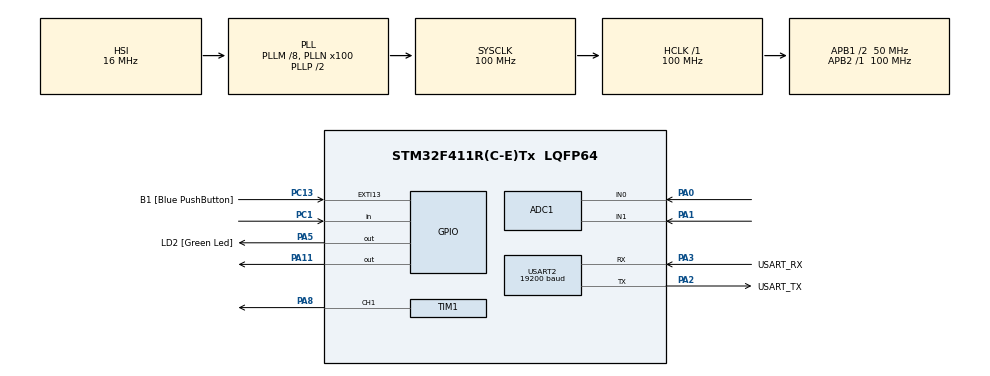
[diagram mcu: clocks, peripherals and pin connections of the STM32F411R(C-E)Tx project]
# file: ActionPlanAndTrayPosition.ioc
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ADC1.Channel-0\#ChannelRegularConversion=ADC_CHANNEL_0
ADC1.Channel-1\#ChannelRegularConversion=ADC_CHANNEL_1
ADC1.ContinuousConvMode=ENABLE
ADC1.DMAContinuousRequests=ENABLE
ADC1.NbrOfConversion=2
ADC1.NbrOfConversionFlag=1
ADC1.Rank-0\#ChannelRegularConversion=1
ADC1.Rank-1\#ChannelRegularConversion=2
ADC1.SamplingTime-0\#ChannelRegularConversion=ADC_SAMPLETIME_56CYCLES
ADC1.SamplingTime-1\#ChannelRegularConversion=ADC_SAMPLETIME_56CYCLES
ADC1.ScanConvMode=ENABLE
ADC1.master=1
Dma.ADC1.0.Direction=DMA_PERIPH_TO_MEMORY
Dma.ADC1.0.FIFOMode=DMA_FIFOMODE_DISABLE
Dma.ADC1.0.Instance=DMA2_Stream0
Dma.ADC1.0.MemDataAlignment=DMA_MDATAALIGN_WORD
Dma.ADC1.0.MemInc=DMA_MINC_ENABLE
Dma.ADC1.0.Mode=DMA_CIRCULAR
Dma.ADC1.0.PeriphDataAlignment=DMA_PDATAALIGN_WORD
Dma.ADC1.0.PeriphInc=DMA_PINC_DISABLE
Dma.ADC1.0.Priority=DMA_PRIORITY_LOW
Dma.Request0=ADC1
Dma.Request1=USART2_TX
Dma.USART2_TX.1.Direction=DMA_MEMORY_TO_PERIPH
Dma.USART2_TX.1.FIFOMode=DMA_FIFOMODE_DISABLE
Dma.USART2_TX.1.Instance=DMA1_Stream6
Dma.USART2_TX.1.MemDataAlignment=DMA_MDATAALIGN_BYTE
Dma.USART2_TX.1.MemInc=DMA_MINC_ENABLE
Dma.USART2_TX.1.Mode=DMA_NORMAL
Dma.USART2_TX.1.PeriphDataAlignment=DMA_PDATAALIGN_BYTE
Dma.USART2_TX.1.PeriphInc=DMA_PINC_DISABLE
Dma.USART2_TX.1.Priority=DMA_PRIORITY_LOW
Mcu.Family=STM32F4
Mcu.Name=STM32F411R(C-E)Tx
Mcu.Package=LQFP64
NVIC.DMA1_Stream6_IRQn=true\:0\:0\:false\:false\:true\:false\:true\:true
NVIC.DMA2_Stream0_IRQn=true\:0\:0\:false\:false\:true\:false\:true\:true
NVIC.PriorityGroup=NVIC_PRIORITYGROUP_0
NVIC.TIM1_TRG_COM_TIM11_IRQn=true\:0\:0\:false\:false\:true\:true\:true\:true
NVIC.TIM5_IRQn=true\:0\:0\:false\:false\:true\:true\:true\:true
NVIC.USART2_IRQn=true\:0\:0\:false\:false\:true\:true\:true\:true
PA0-WKUP.Signal=ADCx_IN0
PA1.Signal=ADCx_IN1
PA11.Signal=GPIO_Output
PA13.GPIO_Label=TMS
PA13.Signal=SYS_JTMS-SWDIO
PA14.GPIO_Label=TCK
PA14.Signal=SYS_JTCK-SWCLK
PA2.GPIO_Label=USART_TX
PA2.Mode=Asynchronous
PA2.Signal=USART2_TX
PA3.GPIO_Label=USART_RX
PA3.Mode=Asynchronous
PA3.Signal=USART2_RX
PA5.GPIO_Label=LD2 [Green Led]
PA5.Signal=GPIO_Output
PA8.Signal=S_TIM1_CH1
PB3.GPIO_Label=SWO
PB3.Signal=SYS_JTDO-SWO
PC1.GPIO_PuPd=GPIO_PULLUP
PC1.Signal=GPIO_Input
PC13-ANTI_TAMP.GPIO_Label=B1 [Blue PushButton]
PC13-ANTI_TAMP.GPIO_ModeDefaultEXTI=GPIO_MODE_IT_FALLING
PC13-ANTI_TAMP.Signal=GPXTI13
PC14-OSC32_IN.Signal=RCC_OSC32_IN
PC15-OSC32_OUT.Signal=RCC_OSC32_OUT
PH0\ -\ OSC_IN.Signal=RCC_OSC_IN
PH1\ -\ OSC_OUT.Signal=RCC_OSC_OUT
ProjectManager.HeapSize=0x200
ProjectManager.StackSize=0x400
ProjectManager.TargetToolchain=STM32CubeIDE
RCC.48MHZClocksFreq_Value=50000000
RCC.AHBFreq_Value=100000000
RCC.APB1CLKDivider=RCC_HCLK_DIV2
RCC.APB1Freq_Value=50000000
RCC.APB1TimFreq_Value=100000000
RCC.APB2Freq_Value=100000000
RCC.APB2TimFreq_Value=100000000
RCC.CortexFreq_Value=100000000
RCC.FLatency-AdvancedSettings=FLASH_LATENCY_3
RCC.HCLKFreq_Value=100000000
RCC.HSE_VALUE=8000000
RCC.HSI_VALUE=16000000
RCC.LSE_VALUE=32768
RCC.PLLM=8
RCC.PLLN=100
RCC.SYSCLKFreq_VALUE=100000000
RCC.SYSCLKSource=RCC_SYSCLKSOURCE_PLLCLK
RCC.VCOOutputFreq_Value=200000000
SH.ADCx_IN0.0=ADC1_IN0,IN0
SH.ADCx_IN1.0=ADC1_IN1,IN1
SH.S_TIM1_CH1.0=TIM1_CH1,PWM Generation1 CH1
TIM1.Channel-PWM\ Generation1\ CH1=TIM_CHANNEL_1
TIM1.Period=49999
TIM11.Channel=TIM_CHANNEL_1
TIM11.OCMode_1=TIM_OCMODE_ACTIVE
TIM11.Period=2005
TIM11.Prescaler=99
TIM11.Pulse=1433
USART2.BaudRate=19200
USART2.Parity=PARITY_EVEN
USART2.VirtualMode=VM_ASYNC
USART2.WordLength=WORDLENGTH_9B
VP_TIM11_VS_ClockSourceINT.Mode=Enable_Timer
VP_TIM11_VS_OPM.Mode=OPM_bit
VP_TIM11_VS_no_output1.Mode=Output Compare1 No Output
VP_TIM1_VS_ClockSourceINT.Mode=Internal
VP_TIM5_VS_ClockSourceINT.Mode=Internal
board=NUCLEO-F411RE

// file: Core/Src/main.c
/* USER CODE BEGIN Header */
/**
  ******************************************************************************
  * @file           : main.c
  * @brief          : Main program body
  ******************************************************************************
  * @attention
  *
  * Copyright (c) 2023 STMicroelectronics.
  * All rights reserved.
  *
  * This software is licensed under terms that can be found in the LICENSE file
  * in the root directory of this software component.
  * If no LICENSE file comes with this software, it is provided AS-IS.
  *
  ******************************************************************************
  */
/* USER CODE END Header */
#include "main.h"
/* USER CODE BEGIN Includes */
#include "arm_math.h"
#include "ModBusRTU.h"
#include "stm32f4xx_hal.h"
//#include "holePositionsCartesian.h"
#include "joyStick.h"
#include "nineholes.h"
/* USER CODE END Includes */

ADC_HandleTypeDef hadc1;
DMA_HandleTypeDef hdma_adc1;

TIM_HandleTypeDef htim1;
TIM_HandleTypeDef htim5;
TIM_HandleTypeDef htim11;

UART_HandleTypeDef huart2;
DMA_HandleTypeDef hdma_usart2_tx;

/* USER CODE BEGIN PV */
//nine holes of tray-------------------------------
int reference[2] = {0, 0};
int opposite[2] = {0, 0};
float32_t rotated[9][2] = {0};
float32_t rotationAngle = 0;
float32_t Degrees = 0;
float32_t *matrixtest;
//float32_t holePositionsCartesian[18];
int GoalReadyFlag = 0;
//float32_t holePositionsCartesianrotation[18];
//float32_t holePositionsCartesianadded[18];
//-------------------------------------------------
//joy stick----------------------------------------
int64_t currentTime = 0;
ModbusHandleTypedef hmodbus;
u16u8_t registerFrame[200];
uint32_t adcRawData[20];
uint32_t IN0[10]; //Y
uint32_t IN1[10]; //X
int JoyStickSwitch = 0;
int X_axis, Y_axis;
int joystickXaxis, joystickYaxis;
float PulseWidthModulation = 0;
float encoderX, encoderY;
//-------------------------------------------------
/* USER CODE END PV */

void SystemClock_Config(void);
static void MX_GPIO_Init(void);
static void MX_DMA_Init(void);
static void MX_ADC1_Init(void);
static void MX_USART2_UART_Init(void);
static void MX_TIM11_Init(void);
static void MX_TIM5_Init(void);
static void MX_TIM1_Init(void);

int main(void)
{

  /* MCU Configuration--------------------------------------------------------*/

  /* Reset of all peripherals, Initializes the Flash interface and the Systick. */
  HAL_Init();

  /* Configure the system clock */
  SystemClock_Config();

  /* Initialize all configured peripherals */
  MX_GPIO_Init();
  MX_DMA_Init();
  MX_ADC1_Init();
  MX_USART2_UART_Init();
  MX_TIM11_Init();
  MX_TIM5_Init();
  MX_TIM1_Init();
  /* USER CODE BEGIN 2 */
  //nine holes of tray-----------------
  //here for change x,y,degrees--------
//  SetTwoPointsForCalibrate();
//  float32_t xy_axis[2] = {reference[0], reference[1]};
//  HolePositionsCartesian(xy_axis, rotationAngle);
  //-----------------------------------
  //joy stick--------------------------
  HAL_ADC_Start_DMA(&hadc1, (uint32_t*)adcRawData, 20);
  HAL_TIM_Base_Start(&htim1);
  HAL_TIM_Base_Start(&htim5);
  HAL_TIM_PWM_Start(&htim1, TIM_CHANNEL_1);
  hmodbus.huart = &huart2;
  hmodbus.htim = &htim11;
  hmodbus.slaveAddress = 0x15;
  hmodbus.RegisterSize =200;
  Modbus_init(&hmodbus, registerFrame);
  //-----------------------------------
  /* USER CODE END 2 */

  /* Infinite loop */
  /* USER CODE BEGIN WHILE */
  while (1)
  {
	  Modbus_Protocal_Worker();

	  GetJoystickXYaxisValue();

	  JoyStickControlCartesian();

	  SetTwoPointsForCalibrate();
	  float32_t xy_axis[2] = {reference[0], reference[1]};
	  HolePositionsCartesian(xy_axis, rotationAngle);

	  static uint32_t timestamp = 0;
	  currentTime = micros();
	  if(currentTime > timestamp)
	  {
		  timestamp = currentTime + 200000; //200000 microsecond = 0.2 --> 200 millisecond

		  registerFrame[0].U16 = 0b0101100101100001; //Ya 22881
	  }
    /* USER CODE END WHILE */

  }
}

void SystemClock_Config(void)
{
  RCC_OscInitTypeDef RCC_OscInitStruct = {0};
  RCC_ClkInitTypeDef RCC_ClkInitStruct = {0};

  /** Configure the main internal regulator output voltage
  */
  __HAL_RCC_PWR_CLK_ENABLE();
  __HAL_PWR_VOLTAGESCALING_CONFIG(PWR_REGULATOR_VOLTAGE_SCALE1);

  /** Initializes the RCC Oscillators according to the specified parameters
  * in the RCC_OscInitTypeDef structure.
  */
  RCC_OscInitStruct.OscillatorType = RCC_OSCILLATORTYPE_HSI;
  RCC_OscInitStruct.HSIState = RCC_HSI_ON;
  RCC_OscInitStruct.HSICalibrationValue = RCC_HSICALIBRATION_DEFAULT;
  RCC_OscInitStruct.PLL.PLLState = RCC_PLL_ON;
  RCC_OscInitStruct.PLL.PLLSource = RCC_PLLSOURCE_HSI;
  RCC_OscInitStruct.PLL.PLLM = 8;
  RCC_OscInitStruct.PLL.PLLN = 100;
  RCC_OscInitStruct.PLL.PLLP = RCC_PLLP_DIV2;
  RCC_OscInitStruct.PLL.PLLQ = 4;
  if (HAL_RCC_OscConfig(&RCC_OscInitStruct) != HAL_OK)
  {
    Error_Handler();
  }

  /** Initializes the CPU, AHB and APB buses clocks
  */
  RCC_ClkInitStruct.ClockType = RCC_CLOCKTYPE_HCLK|RCC_CLOCKTYPE_SYSCLK
                              |RCC_CLOCKTYPE_PCLK1|RCC_CLOCKTYPE_PCLK2;
  RCC_ClkInitStruct.SYSCLKSource = RCC_SYSCLKSOURCE_PLLCLK;
  RCC_ClkInitStruct.AHBCLKDivider = RCC_SYSCLK_DIV1;
  RCC_ClkInitStruct.APB1CLKDivider = RCC_HCLK_DIV2;
  RCC_ClkInitStruct.APB2CLKDivider = RCC_HCLK_DIV1;

  if (HAL_RCC_ClockConfig(&RCC_ClkInitStruct, FLASH_LATENCY_3) != HAL_OK)
  {
    Error_Handler();
  }
}

static void MX_ADC1_Init(void)
{

  ADC_ChannelConfTypeDef sConfig = {0};

  /** Configure the global features of the ADC (Clock, Resolution, Data Alignment and number of conversion)
  */
  hadc1.Instance = ADC1;
  hadc1.Init.ClockPrescaler = ADC_CLOCK_SYNC_PCLK_DIV4;
  hadc1.Init.Resolution = ADC_RESOLUTION_12B;
  hadc1.Init.ScanConvMode = ENABLE;
  hadc1.Init.ContinuousConvMode = ENABLE;
  hadc1.Init.DiscontinuousConvMode = DISABLE;
  hadc1.Init.ExternalTrigConvEdge = ADC_EXTERNALTRIGCONVEDGE_NONE;
  hadc1.Init.ExternalTrigConv = ADC_SOFTWARE_START;
  hadc1.Init.DataAlign = ADC_DATAALIGN_RIGHT;
  hadc1.Init.NbrOfConversion = 2;
  hadc1.Init.DMAContinuousRequests = ENABLE;
  hadc1.Init.EOCSelection = ADC_EOC_SINGLE_CONV;
  if (HAL_ADC_Init(&hadc1) != HAL_OK)
  {
    Error_Handler();
  }

  /** Configure for the selected ADC regular channel its corresponding rank in the sequencer and its sample time.
  */
  sConfig.Channel = ADC_CHANNEL_0;
  sConfig.Rank = 1;
  sConfig.SamplingTime = ADC_SAMPLETIME_56CYCLES;
  if (HAL_ADC_ConfigChannel(&hadc1, &sConfig) != HAL_OK)
  {
    Error_Handler();
  }

  /** Configure for the selected ADC regular channel its corresponding rank in the sequencer and its sample time.
  */
  sConfig.Channel = ADC_CHANNEL_1;
  sConfig.Rank = 2;
  if (HAL_ADC_ConfigChannel(&hadc1, &sConfig) != HAL_OK)
  {
    Error_Handler();
  }

}

static void MX_TIM1_Init(void)
{

  TIM_ClockConfigTypeDef sClockSourceConfig = {0};
  TIM_MasterConfigTypeDef sMasterConfig = {0};
  TIM_OC_InitTypeDef sConfigOC = {0};
  TIM_BreakDeadTimeConfigTypeDef sBreakDeadTimeConfig = {0};

  htim1.Instance = TIM1;
  htim1.Init.Prescaler = 0;
  htim1.Init.CounterMode = TIM_COUNTERMODE_UP;
  htim1.Init.Period = 49999;
  htim1.Init.ClockDivision = TIM_CLOCKDIVISION_DIV1;
  htim1.Init.RepetitionCounter = 0;
  htim1.Init.AutoReloadPreload = TIM_AUTORELOAD_PRELOAD_DISABLE;
  if (HAL_TIM_Base_Init(&htim1) != HAL_OK)
  {
    Error_Handler();
  }
  sClockSourceConfig.ClockSource = TIM_CLOCKSOURCE_INTERNAL;
  if (HAL_TIM_ConfigClockSource(&htim1, &sClockSourceConfig) != HAL_OK)
  {
    Error_Handler();
  }
  if (HAL_TIM_PWM_Init(&htim1) != HAL_OK)
  {
    Error_Handler();
  }
  sMasterConfig.MasterOutputTrigger = TIM_TRGO_RESET;
  sMasterConfig.MasterSlaveMode = TIM_MASTERSLAVEMODE_DISABLE;
  if (HAL_TIMEx_MasterConfigSynchronization(&htim1, &sMasterConfig) != HAL_OK)
  {
    Error_Handler();
  }
  sConfigOC.OCMode = TIM_OCMODE_PWM1;
  sConfigOC.Pulse = 0;
  sConfigOC.OCPolarity = TIM_OCPOLARITY_HIGH;
  sConfigOC.OCNPolarity = TIM_OCNPOLARITY_HIGH;
  sConfigOC.OCFastMode = TIM_OCFAST_DISABLE;
  sConfigOC.OCIdleState = TIM_OCIDLESTATE_RESET;
  sConfigOC.OCNIdleState = TIM_OCNIDLESTATE_RESET;
  if (HAL_TIM_PWM_ConfigChannel(&htim1, &sConfigOC, TIM_CHANNEL_1) != HAL_OK)
  {
    Error_Handler();
  }
  sBreakDeadTimeConfig.OffStateRunMode = TIM_OSSR_DISABLE;
  sBreakDeadTimeConfig.OffStateIDLEMode = TIM_OSSI_DISABLE;
  sBreakDeadTimeConfig.LockLevel = TIM_LOCKLEVEL_OFF;
  sBreakDeadTimeConfig.DeadTime = 0;
  sBreakDeadTimeConfig.BreakState = TIM_BREAK_DISABLE;
  sBreakDeadTimeConfig.BreakPolarity = TIM_BREAKPOLARITY_HIGH;
  sBreakDeadTimeConfig.AutomaticOutput = TIM_AUTOMATICOUTPUT_DISABLE;
  if (HAL_TIMEx_ConfigBreakDeadTime(&htim1, &sBreakDeadTimeConfig) != HAL_OK)
  {
    Error_Handler();
  }
  HAL_TIM_MspPostInit(&htim1);

}

static void MX_TIM5_Init(void)
{

  TIM_ClockConfigTypeDef sClockSourceConfig = {0};
  TIM_MasterConfigTypeDef sMasterConfig = {0};

  htim5.Instance = TIM5;
  htim5.Init.Prescaler = 0;
  htim5.Init.CounterMode = TIM_COUNTERMODE_UP;
  htim5.Init.Period = 4294967295;
  htim5.Init.ClockDivision = TIM_CLOCKDIVISION_DIV1;
  htim5.Init.AutoReloadPreload = TIM_AUTORELOAD_PRELOAD_DISABLE;
  if (HAL_TIM_Base_Init(&htim5) != HAL_OK)
  {
    Error_Handler();
  }
  sClockSourceConfig.ClockSource = TIM_CLOCKSOURCE_INTERNAL;
  if (HAL_TIM_ConfigClockSource(&htim5, &sClockSourceConfig) != HAL_OK)
  {
    Error_Handler();
  }
  sMasterConfig.MasterOutputTrigger = TIM_TRGO_RESET;
  sMasterConfig.MasterSlaveMode = TIM_MASTERSLAVEMODE_DISABLE;
  if (HAL_TIMEx_MasterConfigSynchronization(&htim5, &sMasterConfig) != HAL_OK)
  {
    Error_Handler();
  }

}

static void MX_TIM11_Init(void)
{

  TIM_OC_InitTypeDef sConfigOC = {0};

  htim11.Instance = TIM11;
  htim11.Init.Prescaler = 99;
  htim11.Init.CounterMode = TIM_COUNTERMODE_UP;
  htim11.Init.Period = 2005;
  htim11.Init.ClockDivision = TIM_CLOCKDIVISION_DIV1;
  htim11.Init.AutoReloadPreload = TIM_AUTORELOAD_PRELOAD_DISABLE;
  if (HAL_TIM_Base_Init(&htim11) != HAL_OK)
  {
    Error_Handler();
  }
  if (HAL_TIM_OC_Init(&htim11) != HAL_OK)
  {
    Error_Handler();
  }
  if (HAL_TIM_OnePulse_Init(&htim11, TIM_OPMODE_SINGLE) != HAL_OK)
  {
    Error_Handler();
  }
  sConfigOC.OCMode = TIM_OCMODE_ACTIVE;
  sConfigOC.Pulse = 1433;
  sConfigOC.OCPolarity = TIM_OCPOLARITY_HIGH;
  sConfigOC.OCFastMode = TIM_OCFAST_DISABLE;
  if (HAL_TIM_OC_ConfigChannel(&htim11, &sConfigOC, TIM_CHANNEL_1) != HAL_OK)
  {
    Error_Handler();
  }

}

static void MX_USART2_UART_Init(void)
{

  huart2.Instance = USART2;
  huart2.Init.BaudRate = 19200;
  huart2.Init.WordLength = UART_WORDLENGTH_9B;
  huart2.Init.StopBits = UART_STOPBITS_1;
  huart2.Init.Parity = UART_PARITY_EVEN;
  huart2.Init.Mode = UART_MODE_TX_RX;
  huart2.Init.HwFlowCtl = UART_HWCONTROL_NONE;
  huart2.Init.OverSampling = UART_OVERSAMPLING_16;
  if (HAL_UART_Init(&huart2) != HAL_OK)
  {
    Error_Handler();
  }

}

static void MX_DMA_Init(void)
{

  /* DMA controller clock enable */
  __HAL_RCC_DMA2_CLK_ENABLE();
  __HAL_RCC_DMA1_CLK_ENABLE();

  /* DMA interrupt init */
  /* DMA1_Stream6_IRQn interrupt configuration */
  HAL_NVIC_SetPriority(DMA1_Stream6_IRQn, 0, 0);
  HAL_NVIC_EnableIRQ(DMA1_Stream6_IRQn);
  /* DMA2_Stream0_IRQn interrupt configuration */
  HAL_NVIC_SetPriority(DMA2_Stream0_IRQn, 0, 0);
  HAL_NVIC_EnableIRQ(DMA2_Stream0_IRQn);

}

static void MX_GPIO_Init(void)
{
  GPIO_InitTypeDef GPIO_InitStruct = {0};

  /* GPIO Ports Clock Enable */
  __HAL_RCC_GPIOC_CLK_ENABLE();
  __HAL_RCC_GPIOH_CLK_ENABLE();
  __HAL_RCC_GPIOA_CLK_ENABLE();
  __HAL_RCC_GPIOB_CLK_ENABLE();

  /*Configure GPIO pin Output Level */
  HAL_GPIO_WritePin(GPIOA, LD2_Pin|GPIO_PIN_11, GPIO_PIN_RESET);

  /*Configure GPIO pin : B1_Pin */
  GPIO_InitStruct.Pin = B1_Pin;
  GPIO_InitStruct.Mode = GPIO_MODE_IT_FALLING;
  GPIO_InitStruct.Pull = GPIO_NOPULL;
  HAL_GPIO_Init(B1_GPIO_Port, &GPIO_InitStruct);

  /*Configure GPIO pin : PC1 */
  GPIO_InitStruct.Pin = GPIO_PIN_1;
  GPIO_InitStruct.Mode = GPIO_MODE_INPUT;
  GPIO_InitStruct.Pull = GPIO_PULLUP;
  HAL_GPIO_Init(GPIOC, &GPIO_InitStruct);

  /*Configure GPIO pins : LD2_Pin PA11 */
  GPIO_InitStruct.Pin = LD2_Pin|GPIO_PIN_11;
  GPIO_InitStruct.Mode = GPIO_MODE_OUTPUT_PP;
  GPIO_InitStruct.Pull = GPIO_NOPULL;
  GPIO_InitStruct.Speed = GPIO_SPEED_FREQ_LOW;
  HAL_GPIO_Init(GPIOA, &GPIO_InitStruct);

}

void Error_Handler(void)
{
  __disable_irq();
  while (1)
  {
  }
}
